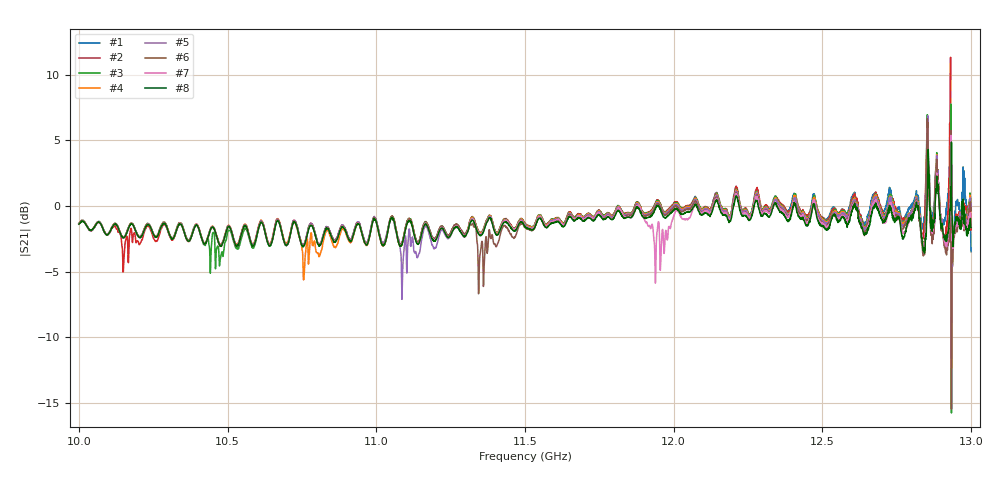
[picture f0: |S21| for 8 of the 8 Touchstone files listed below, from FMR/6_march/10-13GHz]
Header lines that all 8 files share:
#  HZ  S  RI  R  50.0
! Rohde & Schwarz ZVL13 2Ports - Version 3.31 - 1303.6509k13 SN: 101088
! Data & Calibration Information:
! Trc4:S11(TOSM) Trc2:S21(TOSM) Trc3:S12(TOSM) Trc5:S22(TOSM)
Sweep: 10 GHz to 13 GHz
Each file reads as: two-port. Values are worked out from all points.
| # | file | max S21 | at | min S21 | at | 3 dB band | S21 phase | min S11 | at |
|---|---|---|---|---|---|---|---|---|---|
| 1 | YIG_10-13GHz_0mT.s2p | 4.06 dB | 12.93 GHz | -3.5 dB | 13 GHz | 12.88 GHz-12.89 GHz | -16 deg at 11.5 GHz | -38.4 dB | 11.67 GHz |
| 2 | YIG_10-13GHz_283mT.s2p | 11.34 dB | 12.93 GHz | -5.1 dB | 12.93 GHz | 12.93 GHz-12.93 GHz | -19 deg at 11.5 GHz | -35.5 dB | 11.67 GHz |
| 3 | YIG_10-13GHz_293mT.s2p | 7.78 dB | 12.93 GHz | -15.8 dB | 12.93 GHz | 12.85 GHz-12.85 GHz | -19 deg at 11.5 GHz | -40.0 dB | 11.85 GHz |
| 4 | YIG_10-13GHz_304mT.s2p | 6.80 dB | 12.85 GHz | -12.4 dB | 12.93 GHz | 12.85 GHz-12.86 GHz | -19 deg at 11.5 GHz | -38.5 dB | 11.85 GHz |
| 5 | YIG_10-13GHz_315mT.s2p | 6.88 dB | 12.85 GHz | -11.6 dB | 12.93 GHz | 12.85 GHz-12.86 GHz | -18 deg at 11.5 GHz | -41.4 dB | 11.67 GHz |
| 6 | YIG_10-13GHz_324mT.s2p | 6.67 dB | 12.85 GHz | -15.5 dB | 12.93 GHz | 12.85 GHz-12.86 GHz | -17 deg at 11.5 GHz | -49.4 dB | 11.67 GHz |
| 7 | YIG_10-13GHz_345mT.s2p | 5.38 dB | 12.93 GHz | -5.9 dB | 11.94 GHz | 12.85 GHz-12.86 GHz | -20 deg at 11.5 GHz | -36.2 dB | 11.85 GHz |
| 8 | YIG_10-13GHz_500mT.s2p | 4.88 dB | 12.93 GHz | -3.6 dB | 12.84 GHz | 12.85 GHz-12.86 GHz | -18 deg at 11.5 GHz | -38.5 dB | 11.85 GHz |
